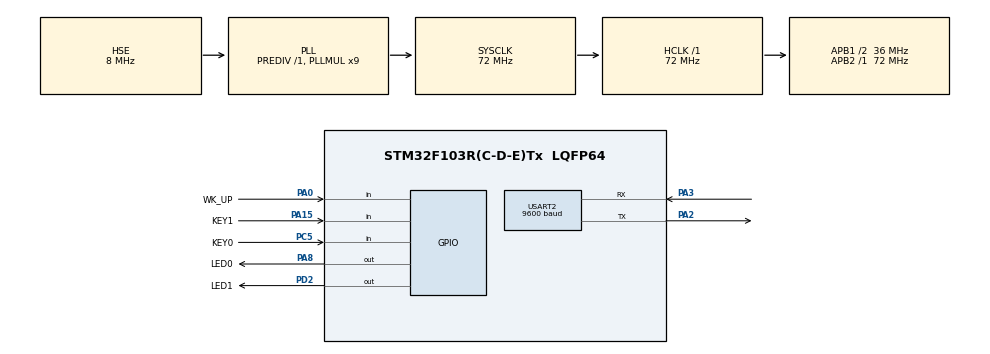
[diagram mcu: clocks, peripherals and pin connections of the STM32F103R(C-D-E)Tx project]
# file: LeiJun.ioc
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Mcu.Family=STM32F1
Mcu.Name=STM32F103R(C-D-E)Tx
Mcu.Package=LQFP64
NVIC.PriorityGroup=NVIC_PRIORITYGROUP_2
NVIC.TIM3_IRQn=true\:1\:1\:true\:false\:true\:true\:true\:true
PA0-WKUP.GPIO_Label=WK_UP
PA0-WKUP.GPIO_PuPd=GPIO_PULLDOWN
PA0-WKUP.Signal=GPIO_Input
PA13.Mode=Serial_Wire
PA13.Signal=SYS_JTMS-SWDIO
PA14.Mode=Serial_Wire
PA14.Signal=SYS_JTCK-SWCLK
PA15.GPIO_Label=KEY1
PA15.GPIO_PuPd=GPIO_PULLUP
PA15.Signal=GPIO_Input
PA2.Mode=Asynchronous
PA2.Signal=USART2_TX
PA3.Mode=Asynchronous
PA3.Signal=USART2_RX
PA8.GPIO_Label=LED0
PA8.PinState=GPIO_PIN_SET
PA8.Signal=GPIO_Output
PC10.Signal=USART3_TX
PC11.Signal=USART3_RX
PC5.GPIO_Label=KEY0
PC5.GPIO_PuPd=GPIO_PULLUP
PC5.Signal=GPIO_Input
PD0-OSC_IN.Mode=HSE-External-Oscillator
PD0-OSC_IN.Signal=RCC_OSC_IN
PD1-OSC_OUT.Mode=HSE-External-Oscillator
PD1-OSC_OUT.Signal=RCC_OSC_OUT
PD2.GPIO_Label=LED1
PD2.PinState=GPIO_PIN_SET
PD2.Signal=GPIO_Output
ProjectManager.HeapSize=0x200
ProjectManager.StackSize=0x400
ProjectManager.TargetToolchain=STM32CubeIDE
RCC.AHBFreq_Value=72000000
RCC.APB1CLKDivider=RCC_HCLK_DIV2
RCC.APB1Freq_Value=36000000
RCC.APB1TimFreq_Value=72000000
RCC.APB2Freq_Value=72000000
RCC.APB2TimFreq_Value=72000000
RCC.HCLKFreq_Value=72000000
RCC.PLLMUL=RCC_PLL_MUL9
RCC.PLLSourceVirtual=RCC_PLLSOURCE_HSE
RCC.SYSCLKFreq_VALUE=72000000
RCC.SYSCLKSource=RCC_SYSCLKSOURCE_PLLCLK
RCC.USBFreq_Value=72000000
TIM3.Period=9999
TIM3.Prescaler=899
USART2.BaudRate=9600
USART2.VirtualMode=VM_ASYNC
VP_TIM3_VS_ClockSourceINT.Mode=Internal
board=custom

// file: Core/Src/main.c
/* USER CODE BEGIN Header */
/**
 ******************************************************************************
 * @file           : main.c
 * @brief          : Main program body
 ******************************************************************************
 * @attention
 *
 * <h2><center>&copy; Copyright (c) 2024 STMicroelectronics.
 * All rights reserved.</center></h2>
 *
 * This software component is licensed by ST under BSD 3-Clause license,
 * the "License"; You may not use this file except in compliance with the
 * License. You may obtain a copy of the License at:
 *                        opensource.org/licenses/BSD-3-Clause
 *
 ******************************************************************************
 */
/* USER CODE END Header */
#include "main.h"
#include "tim.h"
#include "usart.h"
#include "gpio.h"

/* USER CODE BEGIN Includes */
#define V4 0

#include "24cxx.h"
#include "bluetooth.h"
#include "delay.h"
#include "gui.h"
#include "myiic.h"
#include "touch.h"
// #include "control.h"
/* USER CODE END Includes */

/* USER CODE BEGIN PV */
UART_HandleTypeDef *huart;
uint8_t updated = 1;
/* USER CODE END PV */

void SystemClock_Config(void);

/* USER CODE BEGIN 0 */
uint8_t key_wk_pressed = 0;
uint8_t key0_pressed = 0;
uint8_t key1_pressed = 0;
void key_operations()
{
    // KEY Wake Up
    if (HAL_GPIO_ReadPin(WK_UP_GPIO_Port, WK_UP_Pin) == GPIO_PIN_SET) {
        if (!key_wk_pressed) {
            HAL_Delay(50);
            if (HAL_GPIO_ReadPin(WK_UP_GPIO_Port, WK_UP_Pin) == GPIO_PIN_SET) {
                key_wk_pressed = 1;
                LeiJun_mode = (LeiJun_mode + 1) % 3;
                // 0: Manual, 1: Waypoint, 2: Auto
                LCD_Clear(BACK_COLOR);
                reset_states();
                send_set_mode(LeiJun_mode + 1);
                // 0x01: Manual, 0x02: Waypoint, 0x03: Auto
                drawUI();
            }
        }
    }
    else {
        key_wk_pressed = 0;
    }
    // KEY0
    if (HAL_GPIO_ReadPin(KEY0_GPIO_Port, KEY0_Pin) == GPIO_PIN_RESET) {
        if (!key0_pressed) {
            HAL_Delay(20);
            if (HAL_GPIO_ReadPin(KEY0_GPIO_Port, KEY0_Pin) == GPIO_PIN_RESET) {
                // KEY0 for emergent stop
                key0_pressed = 1;
                uint8_t opcode = 0x10;
                uint8_t receive_buffer = 0x00;
                HAL_UART_Transmit(huart, &opcode, 1, 0xffff);
                HAL_UART_Receive(huart, &receive_buffer, 1, 0xffff);
                uint8_t control[4] = {0, 0, 0, 0};
                HAL_UART_Transmit(huart, control, 4, 0xffff);
				HAL_UART_Receive(huart, &receive_buffer, 1, 0xffff);
				handle_ack2(receive_buffer);
            }
        }
    }
    else {
        key0_pressed = 0;
    }
    // KEY1
    if (HAL_GPIO_ReadPin(KEY1_GPIO_Port, KEY1_Pin) == GPIO_PIN_RESET) {
        if (!key1_pressed) {
            HAL_Delay(20);
            if (HAL_GPIO_ReadPin(KEY1_GPIO_Port, KEY1_Pin) == GPIO_PIN_RESET) {
                key1_pressed = 1;
                if (LeiJun_mode == 1) {
                    // 0: set_start, 1: set_end, 2: set_obstacles, 3: set_waypoints
                    waypoint_state = (waypoint_state + 1) % 4;
                    draw_waypoint(-1);
                }
            }
        }
    }
    else {
        key1_pressed = 0;
    }
}
/* USER CODE END 0 */

int main(void)
{

  /* MCU Configuration--------------------------------------------------------*/

  /* Reset of all peripherals, Initializes the Flash interface and the Systick. */
  HAL_Init();

  /* Configure the system clock */
  SystemClock_Config();

  /* Initialize all configured peripherals */
  MX_GPIO_Init();
  MX_TIM3_Init();
  MX_USART2_UART_Init();
  /* USER CODE BEGIN 2 */
    BACK_COLOR = BLACK;
    LCD_Init();
    LCD_Clear(BACK_COLOR);
    tp_dev.init();
    HAL_TIM_Base_Start_IT(&htim3);
    huart = &huart2;
    draw_manual(-1);
  /* USER CODE END 2 */

  /* Infinite loop */
  /* USER CODE BEGIN WHILE */
    while (1) {
        // during while, send bluetooth communication
        if (need_greeting_flag) {
            float distance = get_distance();
            if (distance >= 0) { // negative distance means no obstacle detected, do not update
                char distance_buffer[50];
                sprintf(distance_buffer, "Dist=%.1fcm", distance);
                LCD_Fill_Window(10, 244, 100, 267, BACK_COLOR);
                POINT_COLOR = WHITE;
                LCD_ShowString(10, 244, 100, 12, 12, distance_buffer);
            }
            need_greeting_flag = 0;
        }
        key_operations();
        tp_dev.scan(0);
        if ((tp_dev.sta & TP_PRES_DOWN) && (tp_dev.x[0] <= lcddev.width && tp_dev.y[0] <= lcddev.height)) {
            display_info("");
            if (LeiJun_mode == 0) {
                button_pressed = which_button_pressed_manual(&tp_dev);
                if (button_pressed) {
                    send_manual_inst();
                }
            }
            /*+=+=+=+=+=+=+=+=+=+=+=+=+=+=+=+=+=+=+=+=+=+=+=+=+=+=+=+=+=+=+=+=+=+=+=+=+=+=+=+=+=+=+=+=+=+=+=+=+=+=+=+=+=*/
            /*+=+=+=+=+=+=+=+=+=+=+=+=+=+=+=+=+=+=+=+=+=+=+=+=+=+=+=+=+=+=+=+=+=+=+=+=+=+=+=+=+=+=+=+=+=+=+=+=+=+=+=+=+=*/
            /*+=+=+=+=+=+=+=+=+=+=+=+=+=+=+=+=+=+=+=+=+=+=+=+=+=+=+=+=+=+=+=+=+=+=+=+=+=+=+=+=+=+=+=+=+=+=+=+=+=+=+=+=+=*/
            else if (LeiJun_mode == 1) {
                if (WITHIN_BUTTON(tp_dev.x[0], tp_dev.y[0], button_go)) {
                    // check if start, end, waypoint list are valid
                    updated = 1;
                    if (start != 0xff && end != 0xff && waypoint_cnt > 0 && waypoint_list[waypoint_cnt - 1] == end) {
                        if (is_running == 0) {
                            display_info("Path sent");
                            send_waypoint();
                            is_running = 2;
                        }
                        else if (is_running == 2) {
                            display_info("Running");
                            is_running = 1;
                            send_toggle_run();
                        }
                        else if (is_running == 1) {
                            display_info("Stopped");
                            is_running = 0;
                            send_toggle_run();
                        }
                    }
                    else {
                        display_info("Invalid waypoint");
                    }
                }
                else if (WITHIN_BUTTON(tp_dev.x[0], tp_dev.y[0], button_clear)) {
                    // clear the object(start/end/obstacle/waypoint) that current waypoint_state is setting
                    updated = 1;
                    if (waypoint_state == 0) // start
                    {
                        start = -1; // 0xff
                        waypoint_cnt = 0;
                    }
                    else if (waypoint_state == 1) // end
                    {
                        end = -1;
                        waypoint_cnt = 0;
                    }
                    else if (waypoint_state == 2) // obstacle
                    {
                        obstacles = 0x0000;
                    }
                    else // waypoint
                    {
                        waypoint_cnt = 1;
                    }
                }
                else {
                    button_pressed = which_button_pressed_map(&tp_dev);
                    if (button_pressed) {
                        display_info("Stopped: update");
                        is_running = 0;
                        send_toggle_run();
                        updated = 1;
                        if (waypoint_state == 0) {
                            // set start, clear the waypoint list
                            for (uint8_t i = 0; i < 16; i++) {
                                if (button_pressed & (1 << i)) {
                                    if (obstacles & (1 << i)) {
                                        display_info("Start invalid");
                                    }
                                    else {
                                        start = i;
                                        waypoint_cnt = 1;
                                        waypoint_list[0] = i;
                                    }
                                    break;
                                }
                            }
                        }
                        else if (waypoint_state == 1) {
                            // set end, clear the waypoint list
                            for (uint8_t i = 0; i < 16; i++) {
                                if (button_pressed & (1 << i)) {
                                    if (obstacles & (1 << i)) {
                                        display_info("End invalid");
                                    }
                                    else {
                                        end = i;
                                        waypoint_cnt = 1;
                                    }
                                    break;
                                }
                            }
                        }
                        else if (waypoint_state == 2) {
                            // set obstacles, clear the waypoint list if new obstacle blocks the path
                            for (uint8_t i = 0; i < 16; i++) {
                                if (button_pressed & (1 << i) && start != i && end != i) {
                                    obstacles |= (1 << i);
                                    for (uint8_t j = 0; j < waypoint_cnt; j++) {
                                        if (waypoint_list[j] == i) {
                                            waypoint_cnt = 1;
                                        }
                                    }
                                }
                            }
                        }
                        else {
                            // set waypoints
                            for (uint8_t i = 0; i < 16; i++) {
                                if (button_pressed & (1 << i)) {
                                    if (waypoint_cnt == 0) {
                                        display_info("Set start first");
                                    }
                                    else {
                                        if (obstacles & (1 << i)) {
                                            display_info("Path blocked");
                                        }
                                        else {
                                            uint8_t last = waypoint_list[waypoint_cnt - 1];
                                            if (last == i - 1 || last == i + 1 || last == i - 4 || last == i + 4) {
                                                waypoint_list[waypoint_cnt++] = i;
                                            }
                                            else {
                                                display_info("Not adjacent");
                                            }
                                        }
                                    }
                                    break;
                                }
                            }
                        }
                    }
                }
            }
            /*+=+=+=+=+=+=+=+=+=+=+=+=+=+=+=+=+=+=+=+=+=+=+=+=+=+=+=+=+=+=+=+=+=+=+=+=+=+=+=+=+=+=+=+=+=+=+=+=+=+=+=+=+=*/
            /*+=+=+=+=+=+=+=+=+=+=+=+=+=+=+=+=+=+=+=+=+=+=+=+=+=+=+=+=+=+=+=+=+=+=+=+=+=+=+=+=+=+=+=+=+=+=+=+=+=+=+=+=+=*/
            /*+=+=+=+=+=+=+=+=+=+=+=+=+=+=+=+=+=+=+=+=+=+=+=+=+=+=+=+=+=+=+=+=+=+=+=+=+=+=+=+=+=+=+=+=+=+=+=+=+=+=+=+=+=*/
            else {
                button_pressed = which_button_pressed_map(&tp_dev);
                if (WITHIN_BUTTON(tp_dev.x[0], tp_dev.y[0], button_mode)) {
                    updated = 1;
                    is_race = is_race ? 0 : 1;
                    if (is_running) {
                        is_running = 0;
                        send_toggle_run();
                    }
                    char buf[20];
                    sprintf(buf, is_running ? "Running" : "Stopped");
                    display_info(buf);
                    send_set_mode(is_race ? 0x04 : 0x03);
                }
                else if (WITHIN_BUTTON(tp_dev.x[0], tp_dev.y[0], button_go)) {
                    updated = 1;
                    is_running = is_running ? 0 : 1;
                    char buf[20];
                    sprintf(buf, is_running ? "Running" : "Stopped");
                    display_info(buf);
                    send_start_end();
                    send_toggle_run();
                }
                else {
                    for (int i = 0; i < 16; i++) {
                        if (button_pressed & (1 << i)) {
                            if (is_setting_start)
                                start = i;
                            else
                                end = i;
                            whereami = start;
                            updated = 1;
                            is_setting_start = is_setting_start ? 0 : 1;
                            if (0 <= start && start < 16 && 0 <= end && end <= start) {
                            }
                            break;
                        }
                    }
                }
            }
        }
        if (updated) {
            drawUI();
            updated = 0;
        }
    /* USER CODE END WHILE */

    }
}

void SystemClock_Config(void)
{
  RCC_OscInitTypeDef RCC_OscInitStruct = {0};
  RCC_ClkInitTypeDef RCC_ClkInitStruct = {0};

  /** Initializes the RCC Oscillators according to the specified parameters
  * in the RCC_OscInitTypeDef structure.
  */
  RCC_OscInitStruct.OscillatorType = RCC_OSCILLATORTYPE_HSE;
  RCC_OscInitStruct.HSEState = RCC_HSE_ON;
  RCC_OscInitStruct.HSEPredivValue = RCC_HSE_PREDIV_DIV1;
  RCC_OscInitStruct.HSIState = RCC_HSI_ON;
  RCC_OscInitStruct.PLL.PLLState = RCC_PLL_ON;
  RCC_OscInitStruct.PLL.PLLSource = RCC_PLLSOURCE_HSE;
  RCC_OscInitStruct.PLL.PLLMUL = RCC_PLL_MUL9;
  if (HAL_RCC_OscConfig(&RCC_OscInitStruct) != HAL_OK)
  {
    Error_Handler();
  }

  /** Initializes the CPU, AHB and APB buses clocks
  */
  RCC_ClkInitStruct.ClockType = RCC_CLOCKTYPE_HCLK|RCC_CLOCKTYPE_SYSCLK
                              |RCC_CLOCKTYPE_PCLK1|RCC_CLOCKTYPE_PCLK2;
  RCC_ClkInitStruct.SYSCLKSource = RCC_SYSCLKSOURCE_PLLCLK;
  RCC_ClkInitStruct.AHBCLKDivider = RCC_SYSCLK_DIV1;
  RCC_ClkInitStruct.APB1CLKDivider = RCC_HCLK_DIV2;
  RCC_ClkInitStruct.APB2CLKDivider = RCC_HCLK_DIV1;

  if (HAL_RCC_ClockConfig(&RCC_ClkInitStruct, FLASH_LATENCY_2) != HAL_OK)
  {
    Error_Handler();
  }
}

void Error_Handler(void)
{
    __disable_irq();
    while (1) {
    }
}
